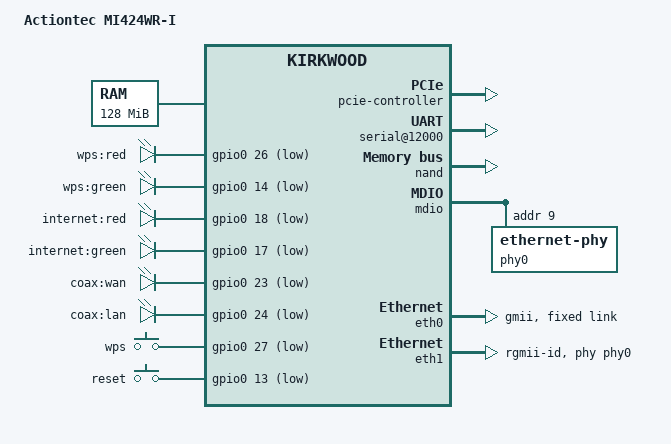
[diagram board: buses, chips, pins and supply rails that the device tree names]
/*
 * avanta-mi424wr.dts - Device Tree file for Actiontec MI-424WR Rev I
 *   (c) 2015 Claudio Leite <leitec@staticky.com>
 *
 * based on kirkwood-ea4500.dts,
 *   (c) 2013 Jonas Gorski <jogo@openwrt.org>
 *   (c) 2013 Deutsche Telekom Innovation Laboratories
 *   (c) 2014 Luka Perkov <luka@openwrt.org>
 *
 * This file is licensed under the terms of the GNU General Public
 * License version 2.  This program is licensed "as is" without any
 * warranty of any kind, whether express or implied.
 */

/dts-v1/;

#include "avanta.dtsi"
#include "avanta-6560.dtsi"

/ {
	model = "Actiontec MI424WR-I";
	compatible = "actiontec,mi424wr-i", "marvell,kirkwood-88f6282", "marvell,kirkwood";

	memory {
		device_type = "memory";
		reg = <0x00000000 0x8000000>;
	};

	chosen {
		bootargs = "console=ttyS0,115200n8 earlyprintk";
	};


	mbus {
		pcie-controller {
			status = "okay";

			pcie@1,0 {
				status = "okay";
			};

/*
			pcie@2,0 {
				status = "okay";
			};
*/
		};
	};

	ocp@f1000000 {
/*
		pinctrl: pinctrl@10000 {
			pmx_led_white_health: pmx-led-white-health {
				marvell,pins = "mpp7";
				marvell,function = "gpo";
			};
			pmx_led_white_pulse: pmx-led-white-pulse {
				marvell,pins = "mpp14";
				marvell,function = "gpio";
			};
			pmx_btn_wps: pmx-btn-wps {
				marvell,pins = "mpp47";
				marvell,function = "gpio";
			};
			pmx_btn_reset: pmx-btn-reset {
				marvell,pins = "mpp48";
				marvell,function = "gpio";
			};
		};
*/

		rtc@10300 {
			status = "disabled";
		};

		serial@12000 {
			status = "okay";
		};
	};

	gpio-leds {
		compatible = "gpio-leds";
/*		
		power-red {
			label = "power:red";
			gpios = <&gpio0 4 GPIO_ACTIVE_LOW>;
		};

		power-gree {
			label = "power:green";
			gpios = <&gpio0 5 GPIO_ACTIVE_HIGH>;
		};

		usb1 {
			label = "usb1";
			gpios = <&gpio0 21 GPIO_ACTIVE_LOW>;
		};

		usb2 {
			label = "usb2";
			gpios = <&gpio0 22 GPIO_ACTIVE_LOW>;
		};
*/
		wps-red {
			label = "wps:red";
			gpios = <&gpio0 26 GPIO_ACTIVE_LOW>;
		};

		wps-gree {
			label = "wps:green";
			gpios = <&gpio0 14 GPIO_ACTIVE_LOW>;
		};
		
		internet-red {
			label = "internet:red";
			gpios = <&gpio0 18 GPIO_ACTIVE_LOW>;
		};

		internet-gree {
			label = "internet:green";
			gpios = <&gpio0 17 GPIO_ACTIVE_LOW>;
		};

		wan-coax {
			label = "coax:wan";
			gpios = <&gpio0 23 GPIO_ACTIVE_LOW>;
		};

		lan-coax {
			label = "coax:lan";
			gpios = <&gpio0 24 GPIO_ACTIVE_LOW>;
		};
	};
	
	gpio_keys {
		compatible = "gpio-keys";
		button@1 {
			label = "wps";
			linux,code = <0x211>;
			gpios = <&gpio0 27 GPIO_ACTIVE_LOW>;
			debounce-interval = <100>;
		};
		button@2 {
			label = "reset";
			linux,code = <0x198>;
			gpios = <&gpio0 13 GPIO_ACTIVE_LOW>;
			debounce-interval = <100>;
		};
	};

	mvsw6171 {
		compatible = "marvell,88e6171";
		status = "okay";
		reg = <0x8>;

		mii-bus = <&mdio>;
		cpu-port-0 = <5>;
		cpu-port-1 = <6>;
		is-indirect;
	};
};

&nand {
	status = "okay";
/*
	pinctrl-0 = <&pmx_nand_none>;
	pinctrl-names = "default";
*/

	partition@0 {
		label = "u-boot";
		reg = <0 0x200000>;
	};

	partition@200000 {
		label = "jffs2";
		reg = <0x200000 0x2000000>;
	};


	partition@3000000 {
		label = "firmware";
		reg = <0x3000000 0x5000000>;
	};
};

&mdio {
	status = "okay";
	phy0: ethernet-phy@9 {
		reg = <9>;
	};
};

&eth0 {
	status = "okay";
	phy-mode = "gmii";

	fixed-link {
		speed = <1000>;
		full-duplex;
	};
};

&eth1 {
	status = "okay";
	phy = <&phy0>;
	phy-mode = "rgmii-id";
};
